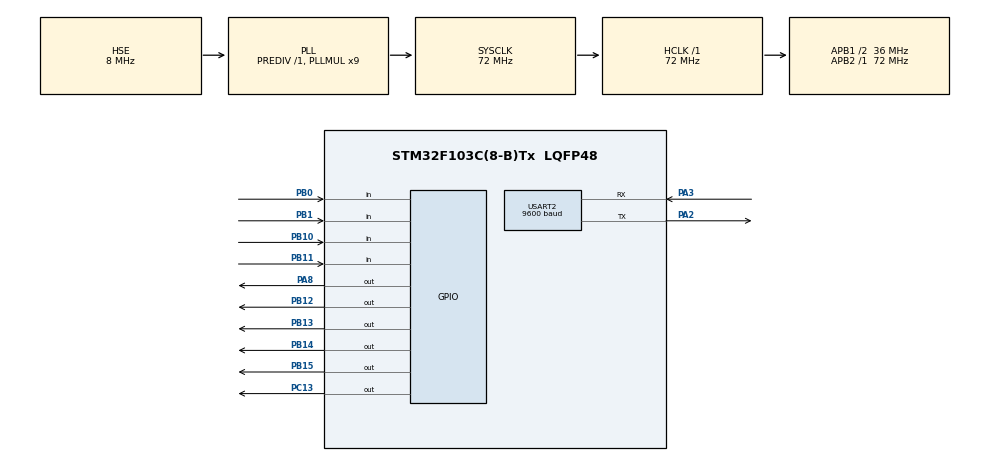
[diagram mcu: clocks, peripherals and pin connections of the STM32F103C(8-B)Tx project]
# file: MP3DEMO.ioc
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Mcu.Family=STM32F1
Mcu.Name=STM32F103C(8-B)Tx
Mcu.Package=LQFP48
NVIC.PriorityGroup=NVIC_PRIORITYGROUP_4
NVIC.USART2_IRQn=true\:0\:0\:false\:false\:true\:true\:true
PA13.Mode=Serial_Wire
PA13.Signal=SYS_JTMS-SWDIO
PA14.Mode=Serial_Wire
PA14.Signal=SYS_JTCK-SWCLK
PA2.Mode=Asynchronous
PA2.Signal=USART2_TX
PA3.Mode=Asynchronous
PA3.Signal=USART2_RX
PA8.PinState=GPIO_PIN_SET
PA8.Signal=GPIO_Output
PB0.GPIO_PuPd=GPIO_PULLUP
PB0.Signal=GPIO_Input
PB1.GPIO_PuPd=GPIO_PULLUP
PB1.Signal=GPIO_Input
PB10.GPIO_PuPd=GPIO_PULLUP
PB10.Signal=GPIO_Input
PB11.GPIO_PuPd=GPIO_PULLUP
PB11.Signal=GPIO_Input
PB12.Signal=GPIO_Output
PB13.Signal=GPIO_Output
PB14.Signal=GPIO_Output
PB15.Signal=GPIO_Output
PC13-TAMPER-RTC.Signal=GPIO_Output
PD0-OSC_IN.Mode=HSE-External-Oscillator
PD0-OSC_IN.Signal=RCC_OSC_IN
PD1-OSC_OUT.Mode=HSE-External-Oscillator
PD1-OSC_OUT.Signal=RCC_OSC_OUT
ProjectManager.HeapSize=0x200
ProjectManager.StackSize=0x400
ProjectManager.TargetToolchain=MDK-ARM V5
RCC.AHBFreq_Value=72000000
RCC.APB1CLKDivider=RCC_HCLK_DIV2
RCC.APB1Freq_Value=36000000
RCC.APB1TimFreq_Value=72000000
RCC.APB2Freq_Value=72000000
RCC.APB2TimFreq_Value=72000000
RCC.HCLKFreq_Value=72000000
RCC.PLLMUL=RCC_PLL_MUL9
RCC.PLLSourceVirtual=RCC_PLLSOURCE_HSE
RCC.SYSCLKFreq_VALUE=72000000
RCC.SYSCLKSource=RCC_SYSCLKSOURCE_PLLCLK
RCC.USBFreq_Value=72000000
USART2.BaudRate=9600
USART2.VirtualMode=VM_ASYNC
board=custom

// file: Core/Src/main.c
/* USER CODE BEGIN Header */
/**
  ******************************************************************************
  * @file           : main.c
  * @brief          : Main program body
  ******************************************************************************
  * @attention
  *
  * <h2><center>&copy; Copyright (c) 2021 STMicroelectronics.
  * All rights reserved.</center></h2>
  *
  * This software component is licensed by ST under BSD 3-Clause license,
  * the "License"; You may not use this file except in compliance with the
  * License. You may obtain a copy of the License at:
  *                        opensource.org/licenses/BSD-3-Clause
  *
  ******************************************************************************
  */
/* USER CODE END Header */
#include "main.h"

/* USER CODE BEGIN Includes */
#include "XMF_OLED_STM32Cube.h"
/* USER CODE END Includes */

/* USER CODE BEGIN PD */
#define KEY1 HAL_GPIO_ReadPin(GPIOB,GPIO_PIN_1)
#define KEY2 HAL_GPIO_ReadPin(GPIOB,GPIO_PIN_0)
#define KEY3 HAL_GPIO_ReadPin(GPIOB,GPIO_PIN_10)
#define KEY4 HAL_GPIO_ReadPin(GPIOB,GPIO_PIN_11)
/* USER CODE END PD */

UART_HandleTypeDef huart2;

void SystemClock_Config(void);
static void MX_GPIO_Init(void);
static void MX_USART2_UART_Init(void);

/* USER CODE BEGIN 0 */
extern unsigned char BMP_MP3[];
void OledWelcome(){
	OLED_Clear();
	OLED_DrawBMP(0,0,128,8,BMP_MP3);
}

void ShowList(){
	OLED_Clear();

	OLED_ShowTitle(3,0,0);
	OLED_ShowTitle(21,0,1);
	OLED_ShowTitle(39,0,2);
	OLED_ShowTitle(57,0,3);
	OLED_ShowTitle(75,0,4);
	OLED_ShowTitle(93,0,5);

	OLED_ShowString(0,2,(uint8_t *)"1.LoveStory.mp3");
	OLED_ShowString(0,4,(uint8_t *)"2.Stay.mp3");
}
//NEXT ARE ABOUT LED
void LedTKT()
{
	HAL_GPIO_TogglePin(GPIOC,GPIO_PIN_13);
	HAL_Delay(200);
}

//NEXT ARE ABOUT VALUES
uint8_t sound = 5;
_Bool isSound = 0;
_Bool isPlay = 0;

//NEXT ARE ABOUT TEXTSENDING
void VoiceDisplayAndSend(uint8_t level){
	uint8_t soundl = level + 48;
	uint8_t soundstr[] = "SoundLevelIs:" ;

	ShowList();
	if(level < 10 && level > 0){
	OLED_ShowString(0,6,soundstr);
	OLED_ShowChar(118,6,soundl);
		HAL_UART_Transmit(&huart2,(uint8_t *)&soundl,1,10);
		HAL_UART_Transmit(&huart2,(uint8_t *)"\n",1,10);}
	else if(level == 0)
	{OLED_ShowString(0,6,(uint8_t *)"NowMIN! NoChange");
		HAL_UART_Transmit(&huart2,(uint8_t *)"0\n",2,10);}
	else {OLED_ShowString(0,6,(uint8_t *)"NowMAX! NoChange");
		HAL_UART_Transmit(&huart2,(uint8_t *)":\n",2,10);}

}
//NEXT ARE ABOUT SCAN
void Scan_Keys()
{
		LedTKT();
	LedTKT();

//	if(isPlay){	HAL_UART_Transmit(&huart2,(uint8_t *)"v\n",2,50);
//							HAL_Delay(600);}

    if(KEY2 == GPIO_PIN_RESET)
    {
        HAL_Delay(30);
        if(KEY2 == GPIO_PIN_RESET)
        {
					if(isSound == 0){
						ShowList();
						OLED_ShowString(0,6,(uint8_t *)"Now Next Song!");
						HAL_UART_Transmit(&huart2,(uint8_t *)"U\n",2,10);
						isPlay = 1;
					}

					else{
						if(sound < 10) sound++;
						VoiceDisplayAndSend(sound);}

						while(KEY2 == GPIO_PIN_RESET);

        }
    }

    if(KEY3 == RESET)
    {
        HAL_Delay(30);
        if(KEY3 == RESET)
        {

					if(isSound == 0){
           						ShowList();
						OLED_ShowString(0,6,(uint8_t *)"Now Former Song!");
						HAL_UART_Transmit(&huart2,(uint8_t *)"D\n",2,10);
						isPlay = 1;
					}
				else{
					 if(sound) sound--;
						VoiceDisplayAndSend(sound);
						}

				while(KEY3 == RESET);

        }
    }
    if(KEY4 == RESET)
    {
        HAL_Delay(30);
        if(KEY4 == 0)
        {
            ShowList();
						//HAL_UART_Transmit(&huart2,strp,sizeof(strp),10);
				if(isPlay) {
					isPlay--;
					OLED_ShowString(0,6,(uint8_t *)"You PAUSE!");}
				else {OLED_ShowString(0,6,(uint8_t *)"You PLAY! "); isPlay++;}
								HAL_UART_Transmit(&huart2,(uint8_t *)"P\n",2,10);

						while(KEY4 == GPIO_PIN_RESET);
        }
    }
		if(KEY1 == RESET)
    {
        HAL_Delay(30);
        if(KEY1 == 0)
        {
            ShowList();
					if(isSound == 0){
						isSound++;
						OLED_ShowString(0,6,(uint8_t *)"SoundChangeMode!");}
					else{
						isSound--;
						OLED_ShowString(0,6,(uint8_t *)"MusicChangeMode!");}

						while(KEY1 == GPIO_PIN_RESET);
        }
    }

	}

/* USER CODE END 0 */

int main(void)
{

  /* MCU Configuration--------------------------------------------------------*/

  /* Reset of all peripherals, Initializes the Flash interface and the Systick. */
  HAL_Init();

  /* Configure the system clock */
  SystemClock_Config();

  /* Initialize all configured peripherals */
  MX_GPIO_Init();
  MX_USART2_UART_Init();
  /* USER CODE BEGIN 2 */
	OLED_Init();
	OledWelcome();
	HAL_Delay(5000);
	ShowList();
  /* USER CODE END 2 */

  /* Infinite loop */
  /* USER CODE BEGIN WHILE */
  while (1)
  {
				Scan_Keys();
    /* USER CODE END WHILE */

  }
}

void SystemClock_Config(void)
{
  RCC_OscInitTypeDef RCC_OscInitStruct = {0};
  RCC_ClkInitTypeDef RCC_ClkInitStruct = {0};

  /** Initializes the RCC Oscillators according to the specified parameters
  * in the RCC_OscInitTypeDef structure.
  */
  RCC_OscInitStruct.OscillatorType = RCC_OSCILLATORTYPE_HSE;
  RCC_OscInitStruct.HSEState = RCC_HSE_ON;
  RCC_OscInitStruct.HSEPredivValue = RCC_HSE_PREDIV_DIV1;
  RCC_OscInitStruct.HSIState = RCC_HSI_ON;
  RCC_OscInitStruct.PLL.PLLState = RCC_PLL_ON;
  RCC_OscInitStruct.PLL.PLLSource = RCC_PLLSOURCE_HSE;
  RCC_OscInitStruct.PLL.PLLMUL = RCC_PLL_MUL9;
  if (HAL_RCC_OscConfig(&RCC_OscInitStruct) != HAL_OK)
  {
    Error_Handler();
  }
  /** Initializes the CPU, AHB and APB buses clocks
  */
  RCC_ClkInitStruct.ClockType = RCC_CLOCKTYPE_HCLK|RCC_CLOCKTYPE_SYSCLK
                              |RCC_CLOCKTYPE_PCLK1|RCC_CLOCKTYPE_PCLK2;
  RCC_ClkInitStruct.SYSCLKSource = RCC_SYSCLKSOURCE_PLLCLK;
  RCC_ClkInitStruct.AHBCLKDivider = RCC_SYSCLK_DIV1;
  RCC_ClkInitStruct.APB1CLKDivider = RCC_HCLK_DIV2;
  RCC_ClkInitStruct.APB2CLKDivider = RCC_HCLK_DIV1;

  if (HAL_RCC_ClockConfig(&RCC_ClkInitStruct, FLASH_LATENCY_2) != HAL_OK)
  {
    Error_Handler();
  }
}

static void MX_USART2_UART_Init(void)
{

  huart2.Instance = USART2;
  huart2.Init.BaudRate = 9600;
  huart2.Init.WordLength = UART_WORDLENGTH_8B;
  huart2.Init.StopBits = UART_STOPBITS_1;
  huart2.Init.Parity = UART_PARITY_NONE;
  huart2.Init.Mode = UART_MODE_TX_RX;
  huart2.Init.HwFlowCtl = UART_HWCONTROL_NONE;
  huart2.Init.OverSampling = UART_OVERSAMPLING_16;
  if (HAL_UART_Init(&huart2) != HAL_OK)
  {
    Error_Handler();
  }

}

static void MX_GPIO_Init(void)
{
  GPIO_InitTypeDef GPIO_InitStruct = {0};

  /* GPIO Ports Clock Enable */
  __HAL_RCC_GPIOC_CLK_ENABLE();
  __HAL_RCC_GPIOD_CLK_ENABLE();
  __HAL_RCC_GPIOA_CLK_ENABLE();
  __HAL_RCC_GPIOB_CLK_ENABLE();

  /*Configure GPIO pin Output Level */
  HAL_GPIO_WritePin(GPIOC, GPIO_PIN_13, GPIO_PIN_RESET);

  /*Configure GPIO pin Output Level */
  HAL_GPIO_WritePin(GPIOB, GPIO_PIN_12|GPIO_PIN_13|GPIO_PIN_14|GPIO_PIN_15, GPIO_PIN_RESET);

  /*Configure GPIO pin Output Level */
  HAL_GPIO_WritePin(GPIOA, GPIO_PIN_8, GPIO_PIN_SET);

  /*Configure GPIO pin : PC13 */
  GPIO_InitStruct.Pin = GPIO_PIN_13;
  GPIO_InitStruct.Mode = GPIO_MODE_OUTPUT_PP;
  GPIO_InitStruct.Pull = GPIO_NOPULL;
  GPIO_InitStruct.Speed = GPIO_SPEED_FREQ_LOW;
  HAL_GPIO_Init(GPIOC, &GPIO_InitStruct);

  /*Configure GPIO pins : PB0 PB1 PB10 PB11 */
  GPIO_InitStruct.Pin = GPIO_PIN_0|GPIO_PIN_1|GPIO_PIN_10|GPIO_PIN_11;
  GPIO_InitStruct.Mode = GPIO_MODE_INPUT;
  GPIO_InitStruct.Pull = GPIO_PULLUP;
  HAL_GPIO_Init(GPIOB, &GPIO_InitStruct);

  /*Configure GPIO pins : PB12 PB13 PB14 PB15 */
  GPIO_InitStruct.Pin = GPIO_PIN_12|GPIO_PIN_13|GPIO_PIN_14|GPIO_PIN_15;
  GPIO_InitStruct.Mode = GPIO_MODE_OUTPUT_PP;
  GPIO_InitStruct.Pull = GPIO_NOPULL;
  GPIO_InitStruct.Speed = GPIO_SPEED_FREQ_LOW;
  HAL_GPIO_Init(GPIOB, &GPIO_InitStruct);

  /*Configure GPIO pin : PA8 */
  GPIO_InitStruct.Pin = GPIO_PIN_8;
  GPIO_InitStruct.Mode = GPIO_MODE_OUTPUT_PP;
  GPIO_InitStruct.Pull = GPIO_NOPULL;
  GPIO_InitStruct.Speed = GPIO_SPEED_FREQ_LOW;
  HAL_GPIO_Init(GPIOA, &GPIO_InitStruct);

}

void Error_Handler(void)
{
  __disable_irq();
  while (1)
  {
  }
}

/************************ (C) COPYRIGHT STMicroelectronics *****END OF FILE****/
